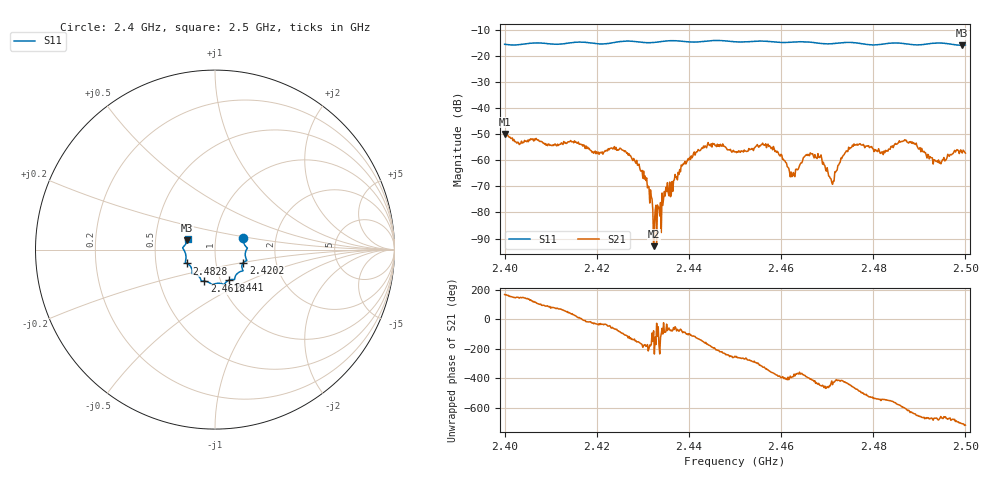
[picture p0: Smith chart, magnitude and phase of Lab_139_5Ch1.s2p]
# Hz S RI R 50
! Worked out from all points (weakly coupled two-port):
!   601 points, 2.4 GHz to 2.5 GHz, reference 50 ohm
!   highest |S21| = -49.82 dB at 2.4 GHz (marker M1); lowest = -92.9 dB at 2.4323 GHz (marker M2)
!   lowest |S11| = -15.8 dB at 2.4993 GHz (marker M3), VSWR 1.39, Z = 36.5 + j3.89 ohm
!   |S11| at or under -10 dB: start of sweep to end of sweep
!   S12 and S22 are empty: the file has one direction only
!   S11 on the Smith chart (normalised r, x): 2.4 GHz: 1.36, +0.17; 2.4202 GHz: 1.36, -0.20; 2.441 GHz: 1.10, -0.39; 2.4618 GHz: 0.84, -0.30; 2.4828 GHz: 0.72, -0.11; 2.5 GHz: 0.73, +0.09
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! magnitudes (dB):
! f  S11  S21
! 2.4 GHz  -15.4  -49.8
! 2.4167 GHz  -14.6  -53.9
! 2.4202 GHz  -15.2  -57.4
! 2.4268 GHz  -14.2  -58.0
! 2.4303 GHz  -14.7  -67.2
! 2.4323 GHz  -14.7  -92.9
! 2.4333 GHz  -14.5  -78.4
! 2.441 GHz  -14.6  -57.3
! 2.4447 GHz  -14.0  -54.4
! 2.45 GHz  -14.4  -56.6
! 2.4572 GHz  -14.3  -53.7
! 2.4618 GHz  -14.6  -64.4
! 2.4667 GHz  -14.6  -57.5
! 2.4685 GHz  -15.1  -58.6
! 2.471 GHz  -15.2  -68.4
! 2.4755 GHz  -14.7  -54.1
! 2.4828 GHz  -15.1  -56.5
! 2.4833 GHz  -15.0  -55.6
! 2.487 GHz  -15.2  -52.4
! 2.4943 GHz  -14.9  -61.0
! 2.4993 GHz  -15.8  -57.2
! 2.5 GHz  -15.7  -57.2
